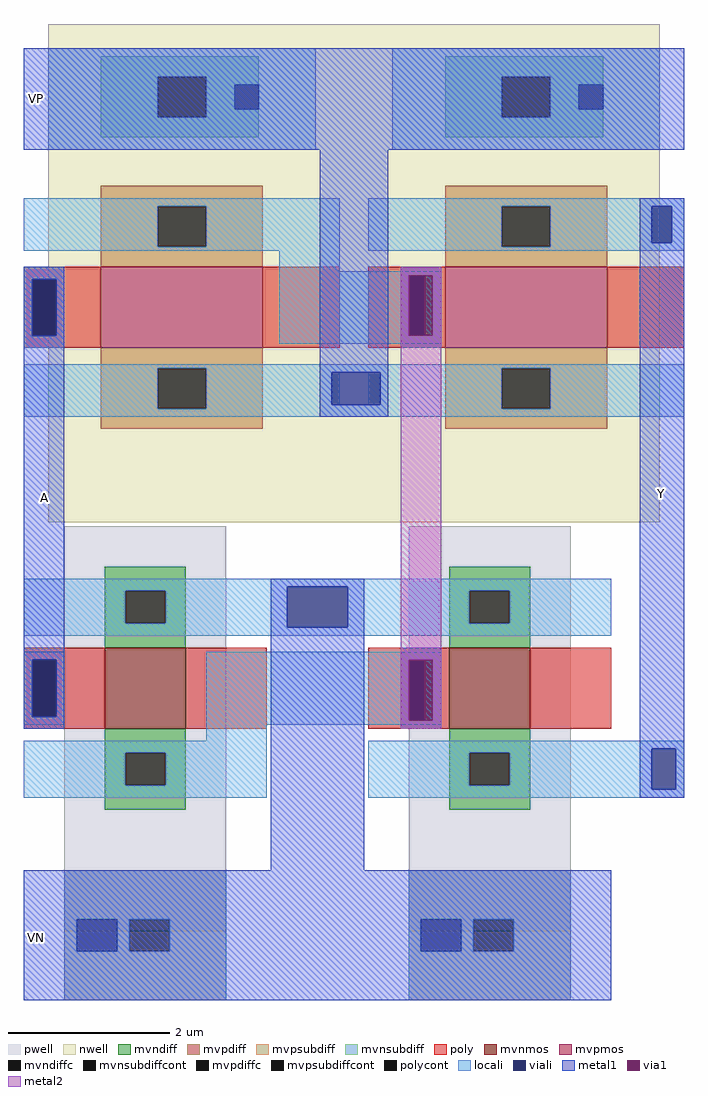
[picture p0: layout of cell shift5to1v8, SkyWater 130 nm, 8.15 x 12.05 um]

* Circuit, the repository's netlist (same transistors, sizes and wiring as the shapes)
* NGSPICE file created from shift5to1v8.ext - technology: sky130A

.subckt x5v_pfet_1_2 B D G S
X0 D G S B sky130_fd_pr__pfet_g5v0d10v5 ad=2 pd=6 as=2 ps=6 w=2 l=1
.ends

.subckt x5v_nfet_1_1 S B G D
X0 D G S B sky130_fd_pr__nfet_g5v0d10v5 ad=1 pd=4 as=1 ps=4 w=1 l=1
.ends

.subckt shift5to1v8 A Y VP VN
X5v_pfet_1_2_0 VP 5v_pfet_1_2_1/G A VP x5v_pfet_1_2
X5v_pfet_1_2_1 VP Y 5v_pfet_1_2_1/G VP x5v_pfet_1_2
X5v_nfet_1_1_0 VN VN A 5v_pfet_1_2_1/G x5v_nfet_1_1
X5v_nfet_1_1_1 VN VN 5v_pfet_1_2_1/G Y x5v_nfet_1_1
.ends

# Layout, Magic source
magic
tech sky130A
<< nwell >>
rect 30 590 785 1205
<< polycont >>
rect 10 820 40 890
rect 475 820 495 895
rect 10 350 40 420
rect 475 345 495 420
<< locali >>
rect 0 890 50 905
rect 0 820 10 890
rect 40 820 50 890
rect 0 805 50 820
rect 315 900 390 990
rect 315 895 515 900
rect 315 820 475 895
rect 495 820 515 895
rect 315 810 515 820
rect 365 775 440 785
rect 365 735 380 775
rect 365 720 440 735
rect 250 510 485 520
rect 250 460 325 510
rect 400 460 485 510
rect 250 450 485 460
rect 0 420 50 430
rect 0 350 10 420
rect 40 350 50 420
rect 0 340 50 350
rect 225 420 515 430
rect 225 345 475 420
rect 495 345 515 420
rect 225 340 515 345
rect 225 250 300 340
rect 715 310 815 320
rect 715 260 775 310
rect 805 260 815 310
rect 715 250 815 260
<< viali >>
rect 10 820 40 890
rect 775 935 800 980
rect 475 820 495 895
rect 380 735 440 775
rect 325 460 400 510
rect 10 350 40 420
rect 475 345 495 420
rect 775 260 805 310
<< metal1 >>
rect 0 1050 815 1175
rect 0 890 50 905
rect 0 820 10 890
rect 40 820 50 890
rect 0 420 50 820
rect 365 775 450 1050
rect 760 980 815 990
rect 760 935 775 980
rect 800 935 815 980
rect 465 895 515 905
rect 465 820 475 895
rect 505 820 515 895
rect 465 805 515 820
rect 365 735 380 775
rect 440 735 450 775
rect 365 720 450 735
rect 0 350 10 420
rect 40 350 50 420
rect 0 335 50 350
rect 305 510 420 520
rect 305 460 325 510
rect 400 460 420 510
rect 305 160 420 460
rect 465 420 515 435
rect 465 345 475 420
rect 505 345 515 420
rect 465 335 515 345
rect 760 310 815 935
rect 760 260 775 310
rect 805 260 815 310
rect 760 250 815 260
rect 0 0 725 160
<< via1 >>
rect 475 820 495 895
rect 495 820 505 895
rect 475 345 495 420
rect 495 345 505 420
<< metal2 >>
rect 465 895 515 905
rect 465 820 475 895
rect 505 820 515 895
rect 465 420 515 820
rect 465 345 475 420
rect 505 345 515 420
rect 465 335 515 345
use 5v_nfet_1_1  5v_nfet_1_1_0
transform 0 1 100 -1 0 435
box -150 -100 435 200
use 5v_nfet_1_1  5v_nfet_1_1_1
transform 0 1 525 -1 0 435
box -150 -100 435 200
use 5v_pfet_1_2  5v_pfet_1_2_0
transform 0 -1 295 1 0 805
box -215 -95 400 295
use 5v_pfet_1_2  5v_pfet_1_2_1
transform 0 -1 720 1 0 805
box -215 -95 400 295
<< labels >>
rlabel metal1 0 550 50 690 7 A
port 1 w
rlabel metal1 760 555 815 695 3 Y
port 2 e
rlabel metal1 0 1050 30 1175 7 VP
port 3 w
rlabel metal1 0 15 30 140 7 VN
port 4 w
<< end >>

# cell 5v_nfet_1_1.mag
magic
tech sky130A
<< pwell >>
rect -150 -50 350 150
<< mvnmos >>
rect 0 0 100 100
<< mvndiff >>
rect -100 75 0 100
rect -100 25 -70 75
rect -30 25 0 75
rect -100 0 0 25
rect 100 75 200 100
rect 100 25 130 75
rect 170 25 200 75
rect 100 0 200 25
<< mvndiffc >>
rect -70 25 -30 75
rect 130 25 170 75
<< mvpsubdiff >>
rect 275 80 435 150
rect 275 30 335 80
rect 375 30 435 80
rect 275 -50 435 30
<< mvpsubdiffcont >>
rect 335 30 375 80
<< poly >>
rect 0 100 100 200
rect 0 -100 100 0
<< locali >>
rect -85 75 -15 200
rect -85 25 -70 75
rect -30 25 -15 75
rect -85 -100 -15 25
rect 115 75 185 200
rect 115 25 130 75
rect 170 25 185 75
rect 115 -100 185 25
rect 275 80 435 150
rect 275 30 335 80
rect 375 30 435 80
rect 275 15 435 30
rect 275 -35 335 15
rect 375 -35 435 15
rect 275 -50 435 -35
<< viali >>
rect 335 -35 375 15
<< metal1 >>
rect 275 15 435 200
rect 275 -35 335 15
rect 375 -35 435 15
rect 275 -100 435 -35
<< labels >>
rlabel locali -50 195 -50 195 5 S
port 1 s
rlabel poly 50 195 50 195 5 G
port 3 s
rlabel locali 150 195 150 195 5 D
port 4 s
rlabel metal1 360 195 360 195 5 B
port 2 s
<< end >>

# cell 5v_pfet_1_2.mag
magic
tech sky130A
<< nwell >>
rect -215 -65 370 265
<< mvpmos >>
rect 0 0 100 200
<< mvpdiff >>
rect -100 130 0 200
rect -100 70 -75 130
rect -25 70 0 130
rect -100 0 0 70
rect 100 130 200 200
rect 100 70 125 130
rect 175 70 200 130
rect 100 0 200 70
<< mvpdiffc >>
rect -75 70 -25 130
rect 125 70 175 130
<< mvnsubdiff >>
rect 260 130 360 200
rect 260 70 285 130
rect 335 70 360 130
rect 260 5 360 70
<< mvnsubdiffcont >>
rect 285 70 335 130
<< poly >>
rect 0 200 100 295
rect 0 -95 100 0
<< locali >>
rect -85 130 -20 295
rect -85 70 -75 130
rect -25 70 -20 130
rect -85 -95 -20 70
rect 120 130 185 295
rect 120 70 125 130
rect 175 70 185 130
rect 120 -95 185 70
rect 245 130 370 265
rect 245 70 285 130
rect 335 70 370 130
rect 245 35 370 70
rect 245 5 295 35
rect 325 5 370 35
rect 245 -65 370 5
<< viali >>
rect 295 5 325 35
<< metal1 >>
rect 245 35 370 295
rect 245 5 295 35
rect 325 5 370 35
rect 245 -95 370 5
<< labels >>
rlabel locali -55 260 -55 260 5 S
port 4 s
rlabel poly 55 260 55 260 5 G
port 3 s
rlabel locali 155 260 155 260 5 D
port 2 s
rlabel metal1 320 260 320 260 5 B
port 1 s
<< end >>
